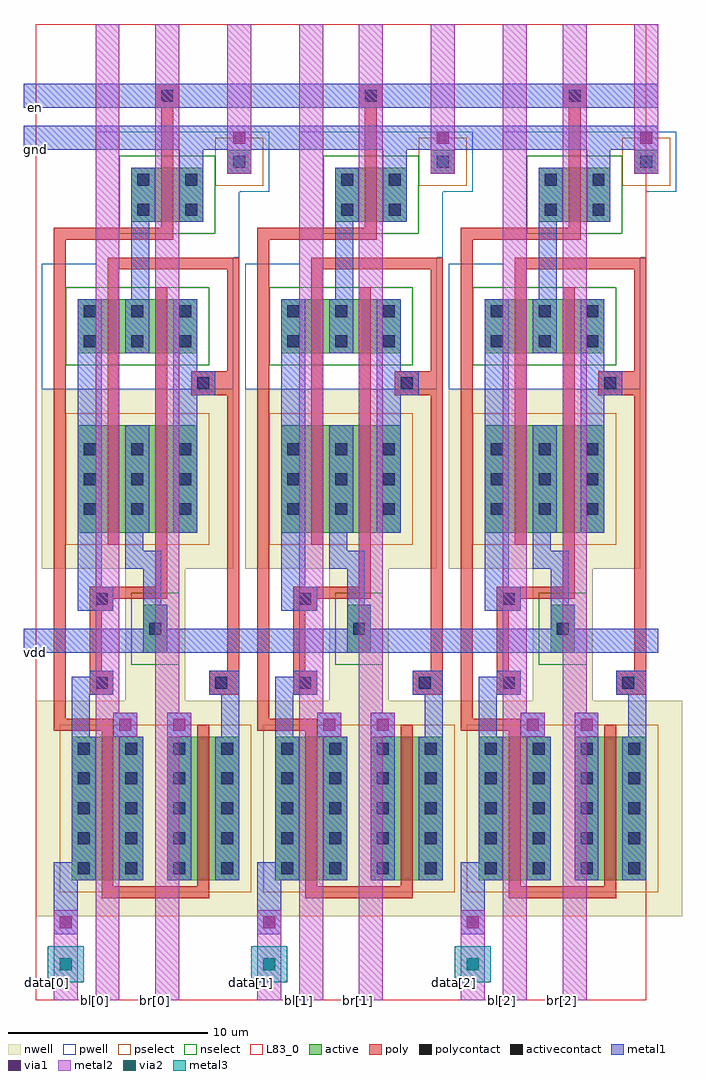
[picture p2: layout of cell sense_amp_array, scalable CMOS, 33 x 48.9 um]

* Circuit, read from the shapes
.subckt sense_amp_array bl[0] bl[1] bl[2] br[0] br[1] br[2] data[0] data[1] data[2] en gnd vdd
M1 n1 n2 data[0] gnd nfet w=2.7u l=0.6u
M2 n2 data[0] n1 gnd nfet w=2.7u l=0.6u
M3 gnd en n1 gnd nfet w=2.7u l=0.6u
M4 n3 n4 data[1] gnd nfet w=2.7u l=0.6u
M5 n4 data[1] n3 gnd nfet w=2.7u l=0.6u
M6 gnd en n3 gnd nfet w=2.7u l=0.6u
M7 n5 n6 data[2] gnd nfet w=2.7u l=0.6u
M8 n6 data[2] n5 gnd nfet w=2.7u l=0.6u
M9 gnd en n5 gnd nfet w=2.7u l=0.6u
M10 bl[0] en data[0] vdd pfet w=7.2u l=0.6u
M11 vdd n2 data[0] vdd pfet w=5.4u l=0.6u
M12 n2 data[0] vdd vdd pfet w=5.4u l=0.6u
M13 n2 en br[0] vdd pfet w=7.2u l=0.6u
M14 bl[1] en data[1] vdd pfet w=7.2u l=0.6u
M15 vdd n4 data[1] vdd pfet w=5.4u l=0.6u
M16 n4 data[1] vdd vdd pfet w=5.4u l=0.6u
M17 n4 en br[1] vdd pfet w=7.2u l=0.6u
M18 bl[2] en data[2] vdd pfet w=7.2u l=0.6u
M19 vdd n6 data[2] vdd pfet w=5.4u l=0.6u
M20 n6 data[2] vdd vdd pfet w=5.4u l=0.6u
M21 n6 en br[2] vdd pfet w=7.2u l=0.6u
.ends

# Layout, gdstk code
import gdstk
lib = gdstk.Library(unit=1e-6, precision=1e-09)
def R(c, l, rs):  # rectangles x0, y0, x1, y1
    for r in rs: c.add(gdstk.rectangle(r[:2], r[2:], *l))
def A(c, l, x, y, w, h, nx, ny, dx, dy):  # array of equal rectangles
    R(c, l, [(x+i*dx, y+j*dy, x+i*dx+w, y+j*dy+h) for i in range(nx) for j in range(ny)])
pwell = (41, 0)
nwell = (42, 0)
active = (43, 0)
pselect = (44, 0)
nselect = (45, 0)
poly = (46, 0)
polycontact = (47, 0)
activecontact = (48, 0)
metal1 = (49, 0)
via1 = (50, 0)
metal2 = (51, 0)
via2 = (61, 0)
metal3 = (62, 0)
L83_0 = (83, 0)

sense_amp = lib.new_cell('sense_amp')
R(sense_amp, pwell, [(0.3,30.6,9.9,36.9), (3,36.9,9.9,37.2), (3,37.2,10.2,40.5), (3,40.5,11.7,43.5)])
R(sense_amp, nwell, [(0,4.2,12,15), (4.5,15,7.5,21.6), (0.3,21.6,9.9,30.6)])
R(sense_amp, active, [(1.8,6,5.4,13.2), (6.6,6,10.2,13.2), (5.4,17.4,6.6,19.8), (2.1,23.4,8.1,28.8), (2.1,32.4,8.1,35.1), (4.8,39,8.4,41.7), (9.6,41.4,10.8,42.6)])
R(sense_amp, pselect, [(1.2,5.4,10.8,13.8), (1.5,22.8,8.7,29.4), (9,40.8,11.4,43.2)])
R(sense_amp, nselect, [(4.8,16.8,7.2,20.4), (1.5,31.8,8.7,35.7), (4.2,38.4,9,42.3)])
R(sense_amp, poly, [(3.3,5.1,8.7,5.7), (3.3,5.7,3.9,13.5), (8.1,5.7,8.7,13.8), (0.9,13.5,3.9,14.1), (0.9,14.1,1.5,38.1), (2.7,15.3,3.9,16.5), (8.7,15.3,10.2,16.5), (2.7,16.5,3.3,19.5), (9.6,16.5,10.2,30.3), (2.7,19.5,3.9,20.1), (2.7,20.1,6.6,20.7), (6,20.7,6.6,35.7), (3.6,22.8,4.2,36.6), (7.8,30.3,10.2,31.5), (9.6,31.5,10.2,36.6), (3.6,36.6,10.2,37.2), (0.9,38.1,6.9,38.7), (6.3,38.7,6.9,44.7), (6,44.7,7.2,45.9)])
R(sense_amp, polycontact, [(3,15.6,3.6,16.2), (9,15.6,9.6,16.2), (3,19.8,3.6,20.4), (8.1,30.6,8.7,31.2), (6.3,45,6.9,45.6)])
A(sense_amp, activecontact, 2.1, 6.3, 0.6, 0.6, 4, 5, 2.4, 1.5)
A(sense_amp, activecontact, 2.4, 24.3, 0.6, 0.6, 3, 3, 2.4, 1.5)
A(sense_amp, activecontact, 2.4, 32.7, 0.6, 0.6, 3, 2, 2.4, 1.5)
R(sense_amp, activecontact, [(5.7,18.3,6.3,18.9), (5.1,39.3,5.7,39.9), (7.5,39.3,8.1,39.9), (5.1,40.8,5.7,41.4), (7.5,40.8,8.1,41.4), (9.9,41.7,10.5,42.3)])
R(sense_amp, metal1, [(0.9,3.3,2.1,6), (0.9,6,3,6.9), (4.2,6,5.4,13.2), (6.6,6,7.8,14.4), (9,6,10.2,13.2), (1.8,6.9,3,13.2), (1.8,13.2,2.7,15.3), (3.9,13.2,5.1,14.4), (9.3,13.2,10.2,15.3), (1.8,15.3,3.9,16.2), (8.7,15.3,10.2,16.5), (2.7,16.2,3.9,16.5), (-0.6,17.4,10.8,18.6), (-0.6,17.4,10.8,18.6), (5.4,18.6,6.6,19.8), (2.1,19.5,3.9,20.7), (5.4,19.8,6.3,21.6), (2.1,20.7,3.3,35.1), (4.5,21.6,6.3,22.5), (4.5,22.5,5.4,23.4), (4.5,23.4,5.7,28.8), (6.9,23.4,8.1,30.3), (6.9,30.3,9,31.5), (6.9,31.5,8.1,35.1), (4.5,32.4,5.7,35.1), (4.8,35.1,5.7,39), (4.8,39,6,41.7), (7.2,39,8.4,42.6), (9.6,41.4,10.8,42.6), (-0.6,42.6,10.8,43.8), (-0.6,42.6,10.8,43.8), (-0.6,44.7,10.8,45.9), (-0.6,44.7,10.8,45.9)])
R(sense_amp, via1, [(1.2,3.6,1.8,4.2), (4.2,13.5,4.8,14.1), (6.9,13.5,7.5,14.1), (9.9,42.9,10.5,43.5)])
R(sense_amp, metal2, [(0.9,0,2.1,4.5), (3,0,4.2,13.2), (3,0,4.2,13.2), (6,0,7.2,13.2), (6,0,7.2,13.2), (3,13.2,5.1,14.4), (6,13.2,7.8,14.4), (3,14.4,4.2,48.9), (6,14.4,7.2,48.9), (9.6,41.4,10.8,48.9)])
R(sense_amp, via2, [(1.2,1.5,1.8,2.1)])
R(sense_amp, metal3, [(0.6,0.9,2.4,2.7), (0.6,0.9,2.4,2.7)])
R(sense_amp, L83_0, [(0,0,10.2,48.9)])
sense_amp.add(gdstk.Label('vdd', (0,17.4), layer=49, texttype=0))
sense_amp.add(gdstk.Label('en', (0,44.7), layer=49, texttype=0))
sense_amp.add(gdstk.Label('gnd', (0,42.6), layer=49, texttype=0))
sense_amp.add(gdstk.Label('bl', (3,0), layer=51, texttype=0))
sense_amp.add(gdstk.Label('br', (6,0), layer=51, texttype=0))
sense_amp.add(gdstk.Label('dout', (0.9,0.9), layer=62, texttype=0))
sense_amp.add(gdstk.Label('en', (-0.6,44.7), layer=49, texttype=0))
sense_amp.add(gdstk.Label('dout', (0.6,0.9), layer=62, texttype=0))
sense_amp.add(gdstk.Label('br', (6,0), layer=51, texttype=0))
sense_amp.add(gdstk.Label('bl', (3,0), layer=51, texttype=0))
sense_amp.add(gdstk.Label('vdd', (-0.6,17.4), layer=49, texttype=0))
sense_amp.add(gdstk.Label('gnd', (-0.6,42.6), layer=49, texttype=0))

sense_amp_array = lib.new_cell('sense_amp_array')
R(sense_amp_array, metal1, [(0,17.4,30.6,18.3), (0,42.6,30.6,43.5), (0,44.7,30.6,45.6)])
R(sense_amp_array, metal2, [(3,0,4.2,13.2), (6,0,7.2,13.2), (13.2,0,14.4,13.2), (16.2,0,17.4,13.2), (23.4,0,24.6,13.2), (26.4,0,27.6,13.2)])
A(sense_amp_array, metal3, 0.6, 0.9, 1.8, 1.8, 3, 1, 10.2, 0)
sense_amp_array.add(gdstk.Reference(sense_amp, (0,0)))
sense_amp_array.add(gdstk.Reference(sense_amp, (10.2,0)))
sense_amp_array.add(gdstk.Reference(sense_amp, (20.4,0)))
sense_amp_array.add(gdstk.Label('data[0]', (0.6,0.9), layer=62, texttype=0))
sense_amp_array.add(gdstk.Label('bl[1]', (13.2,0), layer=51, texttype=0))
sense_amp_array.add(gdstk.Label('en', (0,44.7), layer=49, texttype=0))
sense_amp_array.add(gdstk.Label('bl[0]', (3,0), layer=51, texttype=0))
sense_amp_array.add(gdstk.Label('data[1]', (10.8,0.9), layer=62, texttype=0))
sense_amp_array.add(gdstk.Label('bl[2]', (23.4,0), layer=51, texttype=0))
sense_amp_array.add(gdstk.Label('br[2]', (26.4,0), layer=51, texttype=0))
sense_amp_array.add(gdstk.Label('br[1]', (16.2,0), layer=51, texttype=0))
sense_amp_array.add(gdstk.Label('vdd', (0,17.4), layer=49, texttype=0))
sense_amp_array.add(gdstk.Label('gnd', (0,42.6), layer=49, texttype=0))
sense_amp_array.add(gdstk.Label('br[0]', (6,0), layer=51, texttype=0))
sense_amp_array.add(gdstk.Label('data[2]', (21,0.9), layer=62, texttype=0))

lib.write_gds('sense_amp_array.gds')
